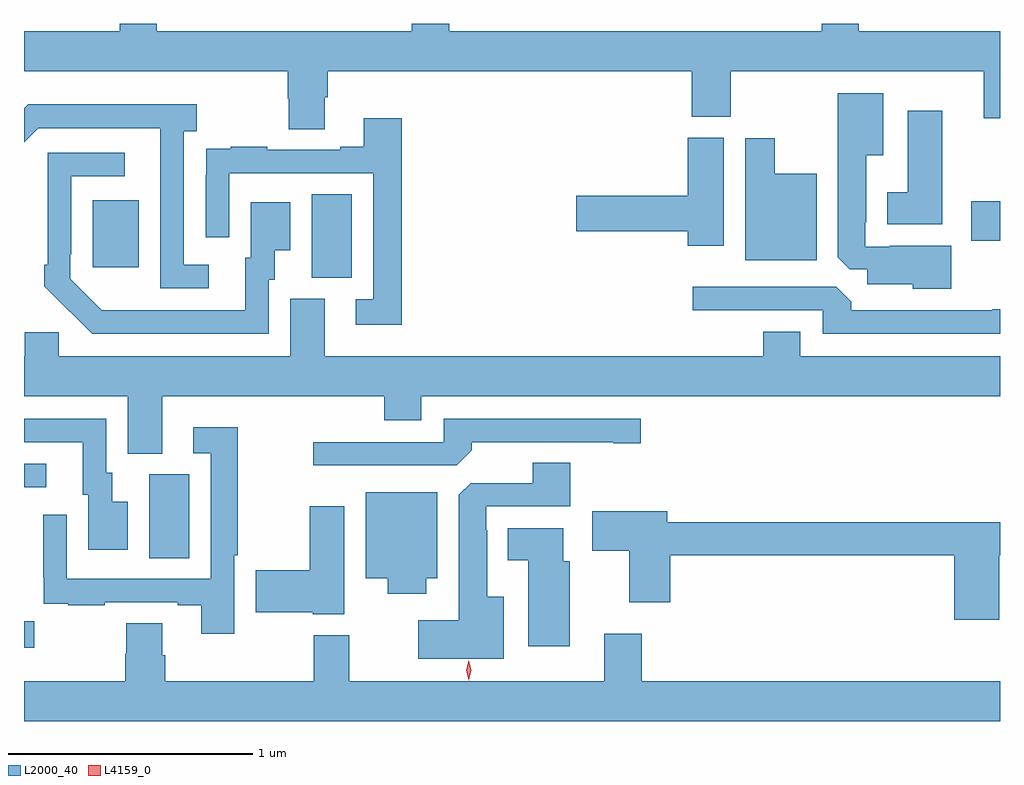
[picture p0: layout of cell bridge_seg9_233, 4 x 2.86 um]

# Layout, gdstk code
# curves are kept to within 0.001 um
import gdstk
lib = gdstk.Library(unit=1e-6, precision=1e-09)
def R(c, l, rs):  # rectangles x0, y0, x1, y1
    for r in rs: c.add(gdstk.rectangle(r[:2], r[2:], *l))
def P(c, l, *ps):  # polygons
    for p in ps: c.add(gdstk.Polygon(p, *l))
L2000_40 = (2000, 40)
L4159_0 = (4159, 0)

bridge_seg9_233 = lib.new_cell('bridge_seg9_233')
R(bridge_seg9_233, L2000_40, [(181.721,1191.392,181.762,1191.502), (182.234,1191.76,182.398,1192.104), (181.721,1192.05,181.813,1192.146), (182.9,1192.909,183.064,1193.252), (182.003,1192.953,182.191,1193.227), (185.604,1193.06,185.721,1193.223)])
P(bridge_seg9_233, L2000_40, [(182.953,1193.65),(182.966,1193.65),(182.966,1193.756),(184.457,1193.756),(184.457,1193.569),(184.617,1193.569),(184.617,1193.756),(185.654,1193.756),(185.654,1193.562),(185.721,1193.562),(185.721,1193.92),(185.142,1193.92),(185.142,1193.95),(184.991,1193.95),(184.991,1193.92),(183.464,1193.92),(183.464,1193.95),(183.311,1193.95),(183.311,1193.92),(182.266,1193.92),(182.266,1193.95),(182.114,1193.95),(182.114,1193.92),(181.721,1193.92),(181.721,1193.756),(182.801,1193.756),(182.801,1193.643),(182.806,1193.643),(182.806,1193.518),(182.953,1193.518)],
  [(185.521,1193.041),(185.269,1193.041),(185.269,1193.037),(185.169,1193.037),(185.169,1193.137),(185.173,1193.137),(185.173,1193.411),(185.242,1193.411),(185.242,1193.665),(185.057,1193.665),(185.057,1192.993),(185.106,1192.944),(185.177,1192.944),(185.177,1192.883),(185.364,1192.883),(185.364,1192.865),(185.521,1192.865)],
  [(182.479,1192.962),(182.376,1192.962),(182.376,1193.51),(182.428,1193.51),(182.428,1193.62),(181.738,1193.62),(181.721,1193.603),(181.721,1193.465),(181.779,1193.523),(182.279,1193.523),(182.28,1192.866),(182.479,1192.866)],
  [(185.485,1193.593),(185.342,1193.593),(185.342,1193.26),(185.258,1193.26),(185.258,1193.129),(185.485,1193.129)],
  [(183.269,1193.563),(183.113,1193.563),(183.113,1193.446),(183.017,1193.446),(183.017,1193.433),(182.717,1193.433),(182.717,1193.446),(182.569,1193.446),(182.569,1193.439),(182.467,1193.439),(182.467,1193.33),(182.466,1193.33),(182.466,1193.076),(182.562,1193.076),(182.562,1193.337),(183.153,1193.337),(183.153,1192.821),(183.081,1192.821),(183.081,1192.716),(183.269,1192.716)],
  [(184.588,1193.484),(184.442,1193.484),(184.442,1193.246),(183.984,1193.246),(183.984,1193.099),(184.442,1193.099),(184.442,1193.04),(184.588,1193.04)],
  [(184.969,1193.335),(184.798,1193.335),(184.798,1193.482),(184.676,1193.482),(184.676,1192.982),(184.969,1192.982)],
  [(182.724,1192.902),(182.749,1192.902),(182.749,1193.021),(182.812,1193.021),(182.812,1193.218),(182.651,1193.218),(182.651,1192.992),(182.627,1192.992),(182.627,1192.776),(182.04,1192.777),(181.911,1192.905),(181.911,1193.005),(181.914,1193.005),(181.914,1193.325),(182.134,1193.325),(182.134,1193.421),(181.818,1193.421),(181.818,1192.963),(181.803,1192.963),(181.803,1192.875),(182,1192.68),(182.724,1192.68)],
  [(185.721,1192.781),(185.69,1192.781),(185.69,1192.776),(185.111,1192.776),(185.111,1192.81),(185.049,1192.872),(184.461,1192.872),(184.461,1192.776),(184.995,1192.776),(184.995,1192.68),(185.721,1192.68)],
  [(182.287,1192.424),(183.197,1192.424),(183.197,1192.325),(183.349,1192.325),(183.349,1192.424),(185.721,1192.424),(185.721,1192.588),(184.903,1192.588),(184.903,1192.687),(184.751,1192.687),(184.751,1192.588),(182.953,1192.588),(182.953,1192.824),(182.813,1192.824),(182.813,1192.588),(181.863,1192.588),(181.863,1192.686),(181.724,1192.686),(181.724,1192.588),(181.721,1192.588),(181.721,1192.424),(182.147,1192.424),(182.147,1192.189),(182.287,1192.189)],
  [(183.557,1192.202),(183.557,1192.236),(184.136,1192.236),(184.136,1192.231),(184.249,1192.231),(184.249,1192.332),(183.441,1192.332),(183.441,1192.236),(182.907,1192.236),(182.907,1192.14),(183.495,1192.14)],
  [(182.146,1191.991),(182.083,1191.991),(182.083,1192.11),(182.058,1192.11),(182.058,1192.332),(181.721,1192.332),(181.721,1192.236),(181.961,1192.236),(181.961,1192.02),(181.985,1192.02),(181.985,1191.795),(182.146,1191.795)],
  [(182.583,1191.772),(182.596,1191.772),(182.596,1192.297),(182.415,1192.297),(182.415,1192.191),(182.487,1192.191),(182.487,1191.675),(181.896,1191.675),(181.896,1191.937),(181.8,1191.937),(181.8,1191.682),(181.801,1191.682),(181.801,1191.573),(181.903,1191.573),(181.903,1191.567),(182.051,1191.567),(182.051,1191.579),(182.351,1191.579),(182.351,1191.567),(182.447,1191.567),(182.447,1191.45),(182.583,1191.45)],
  [(183.688,1191.601),(183.619,1191.601),(183.619,1191.875),(183.615,1191.875),(183.615,1191.972),(183.959,1191.972),(183.959,1192.151),(183.806,1192.151),(183.806,1192.068),(183.552,1192.068),(183.503,1192.019),(183.503,1191.505),(183.336,1191.505),(183.336,1191.347),(183.688,1191.347)],
  [(183.37,1191.677),(183.415,1191.677),(183.415,1192.03),(183.122,1192.03),(183.122,1191.677),(183.212,1191.677),(183.212,1191.614),(183.37,1191.614)],
  [(183.034,1191.973),(182.893,1191.973),(182.893,1191.71),(182.67,1191.71),(182.67,1191.539),(182.904,1191.539),(182.904,1191.53),(183.034,1191.53)],
  [(185.717,1191.772),(185.721,1191.772),(185.721,1191.908),(184.357,1191.908),(184.357,1191.952),(184.05,1191.952),(184.05,1191.79),(184.202,1191.79),(184.202,1191.579),(184.37,1191.579),(184.37,1191.772),(185.534,1191.772),(185.534,1191.507),(185.717,1191.507)],
  [(183.958,1191.747),(183.931,1191.747),(183.931,1191.883),(183.704,1191.883),(183.704,1191.752),(183.788,1191.752),(183.788,1191.399),(183.958,1191.399)],
  [(185.721,1191.256),(184.253,1191.256),(184.253,1191.451),(184.1,1191.451),(184.1,1191.256),(183.055,1191.256),(183.055,1191.445),(182.908,1191.445),(182.908,1191.256),(182.3,1191.256),(182.3,1191.362),(182.287,1191.362),(182.287,1191.494),(182.14,1191.494),(182.14,1191.369),(182.135,1191.369),(182.135,1191.256),(181.721,1191.256),(181.721,1191.092),(185.721,1191.092)])
P(bridge_seg9_233, L4159_0, [(183.544,1191.26),(183.543,1191.261),(183.534,1191.301),(183.544,1191.342),(183.544,1191.342),(183.544,1191.342),(183.554,1191.301),(183.544,1191.261)])

lib.write_gds('bridge_seg9_233.gds')
